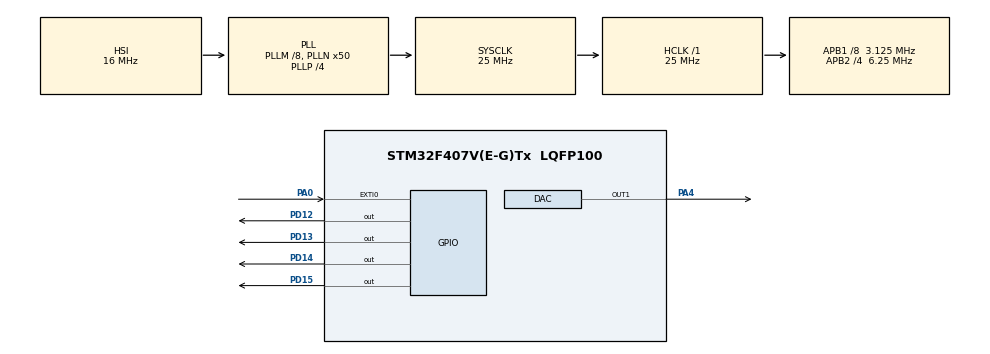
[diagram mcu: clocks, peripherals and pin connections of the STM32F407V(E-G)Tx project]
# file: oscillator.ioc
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DAC.DAC_Trigger=DAC_TRIGGER_T6_TRGO
Dma.DAC1.0.Direction=DMA_MEMORY_TO_PERIPH
Dma.DAC1.0.FIFOMode=DMA_FIFOMODE_DISABLE
Dma.DAC1.0.Instance=DMA1_Stream5
Dma.DAC1.0.MemDataAlignment=DMA_MDATAALIGN_HALFWORD
Dma.DAC1.0.MemInc=DMA_MINC_ENABLE
Dma.DAC1.0.Mode=DMA_CIRCULAR
Dma.DAC1.0.PeriphDataAlignment=DMA_PDATAALIGN_HALFWORD
Dma.DAC1.0.PeriphInc=DMA_PINC_DISABLE
Dma.DAC1.0.Priority=DMA_PRIORITY_LOW
Dma.Request0=DAC1
Mcu.Family=STM32F4
Mcu.Name=STM32F407V(E-G)Tx
Mcu.Package=LQFP100
NVIC.DMA1_Stream5_IRQn=true\:0\:0\:false\:false\:true\:false\:true
NVIC.EXTI0_IRQn=true\:0\:0\:false\:false\:true\:true\:true
NVIC.PriorityGroup=NVIC_PRIORITYGROUP_0
NVIC.TIM6_DAC_IRQn=true\:0\:0\:false\:false\:true\:true\:true
PA0-WKUP.GPIO_ModeDefaultEXTI=GPIO_MODE_IT_RISING
PA0-WKUP.Signal=GPXTI0
PA4.Signal=COMP_DAC1_group
PD12.Signal=GPIO_Output
PD13.Signal=GPIO_Output
PD14.Signal=GPIO_Output
PD15.Signal=GPIO_Output
ProjectManager.HeapSize=0x200
ProjectManager.StackSize=0x400
ProjectManager.TargetToolchain=STM32CubeIDE
RCC.48MHZClocksFreq_Value=14285714.285714285
RCC.AHBFreq_Value=25000000
RCC.APB1CLKDivider=RCC_HCLK_DIV8
RCC.APB1Freq_Value=3125000
RCC.APB1TimFreq_Value=6250000
RCC.APB2CLKDivider=RCC_HCLK_DIV4
RCC.APB2Freq_Value=6250000
RCC.APB2TimFreq_Value=12500000
RCC.CortexFreq_Value=25000000
RCC.HCLKFreq_Value=25000000
RCC.HSE_VALUE=8000000
RCC.HSI_VALUE=16000000
RCC.LSE_VALUE=32768
RCC.PLLM=8
RCC.PLLN=50
RCC.PLLP=RCC_PLLP_DIV4
RCC.PLLQ=7
RCC.SYSCLKFreq_VALUE=25000000
RCC.SYSCLKSource=RCC_SYSCLKSOURCE_PLLCLK
RCC.VCOOutputFreq_Value=100000000
SH.COMP_DAC1_group.0=DAC_OUT1,DAC_OUT1
TIM6.Period=2048
TIM6.TIM_MasterOutputTrigger=TIM_TRGO_UPDATE
VP_TIM6_VS_ClockSourceINT.Mode=Enable_Timer
board=STM32F4DISCOVERY

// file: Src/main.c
/* USER CODE BEGIN Header */
/**
  ******************************************************************************
  * @file           : main.c
  * @brief          : Main program body
  ******************************************************************************
  * @attention
  *
  * <h2><center>&copy; Copyright (c) 2019 STMicroelectronics.
  * All rights reserved.</center></h2>
  *
  * This software component is licensed by ST under BSD 3-Clause license,
  * the "License"; You may not use this file except in compliance with the
  * License. You may obtain a copy of the License at:
  *                        opensource.org/licenses/BSD-3-Clause
  *
  ******************************************************************************
  */
/* USER CODE END Header */

#include "main.h"

DAC_HandleTypeDef hdac;
DMA_HandleTypeDef hdma_dac1;

TIM_HandleTypeDef htim6;

/* USER CODE BEGIN PV */
const uint16_t sine_wave[32] = {
        2047, 1648, 1264, 910, 600,  345,
        156, 39,  0,  39,  156,  345,
        600, 910, 1264, 1648, 2048, 2447,
        2831, 3185, 3495, 3750, 3939, 4056,
        4095, 4056, 3939, 3750, 3495, 3185,
        2831, 2447};

const uint16_t square_wave[32] = {
        0, 0, 0, 0, 0, 0, 0, 0,
        4095, 4095, 4095, 4095, 4095, 4095, 4095, 4095,
        0, 0, 0, 0, 0, 0, 0, 0,
        4095, 4095, 4095, 4095, 4095, 4095, 4095, 4095};

const uint16_t triangle_wave[32] = {
        0, 256, 512, 768, 1024, 1279, 1535, 1791,
        2047, 2303, 2559, 2815, 3071, 3326, 3582, 3838,
        4095, 3838, 3582, 3326, 3071, 2815, 2559, 2303,
        2047, 1791, 1535, 1279, 1024, 768, 512, 256};

const uint16_t saw_wave[32] = {
        0, 132, 264, 396, 528, 660, 792, 924,
        1057, 1189, 1321, 1453, 1585, 1717, 1849, 1981,
        2113, 2245, 2377, 2509, 2641, 2773, 2905, 3037,
        3170, 3302, 3434, 3566, 3698, 3830, 3962, 4095};

int wave_select = 0;
/* USER CODE END PV */

void SystemClock_Config(void);
static void MX_GPIO_Init(void);
static void MX_DMA_Init(void);
static void MX_DAC_Init(void);
static void MX_TIM6_Init(void);

int main(void)
{

  /* MCU Configuration--------------------------------------------------------*/

  /* Reset of all peripherals, Initializes the Flash interface and the Systick. */
  HAL_Init();

  /* Configure the system clock */
  SystemClock_Config();

  /* Initialize all configured peripherals */
  MX_GPIO_Init();
  MX_DMA_Init();
  MX_DAC_Init();
  MX_TIM6_Init();
  /* USER CODE BEGIN 2 */
  HAL_TIM_Base_Start(&htim6);
  HAL_DAC_Start(&hdac, DAC_CHANNEL_1);
  //HAL_DAC_Start_DMA(&hdac, DAC_CHANNEL_1, (uint32_t*)saw_wave, 32, DAC_ALIGN_12B_R);
  /* USER CODE END 2 */

  /* Infinite loop */
  while (1)
  {

  }
}

void SystemClock_Config(void)
{
  RCC_OscInitTypeDef RCC_OscInitStruct = {0};
  RCC_ClkInitTypeDef RCC_ClkInitStruct = {0};

  /** Configure the main internal regulator output voltage
  */
  __HAL_RCC_PWR_CLK_ENABLE();
  __HAL_PWR_VOLTAGESCALING_CONFIG(PWR_REGULATOR_VOLTAGE_SCALE1);
  /** Initializes the CPU, AHB and APB busses clocks
  */
  RCC_OscInitStruct.OscillatorType = RCC_OSCILLATORTYPE_HSI;
  RCC_OscInitStruct.HSIState = RCC_HSI_ON;
  RCC_OscInitStruct.HSICalibrationValue = RCC_HSICALIBRATION_DEFAULT;
  RCC_OscInitStruct.PLL.PLLState = RCC_PLL_ON;
  RCC_OscInitStruct.PLL.PLLSource = RCC_PLLSOURCE_HSI;
  RCC_OscInitStruct.PLL.PLLM = 8;
  RCC_OscInitStruct.PLL.PLLN = 50;
  RCC_OscInitStruct.PLL.PLLP = RCC_PLLP_DIV4;
  RCC_OscInitStruct.PLL.PLLQ = 7;
  if (HAL_RCC_OscConfig(&RCC_OscInitStruct) != HAL_OK)
  {
    Error_Handler();
  }
  /** Initializes the CPU, AHB and APB busses clocks
  */
  RCC_ClkInitStruct.ClockType = RCC_CLOCKTYPE_HCLK|RCC_CLOCKTYPE_SYSCLK
                              |RCC_CLOCKTYPE_PCLK1|RCC_CLOCKTYPE_PCLK2;
  RCC_ClkInitStruct.SYSCLKSource = RCC_SYSCLKSOURCE_PLLCLK;
  RCC_ClkInitStruct.AHBCLKDivider = RCC_SYSCLK_DIV1;
  RCC_ClkInitStruct.APB1CLKDivider = RCC_HCLK_DIV8;
  RCC_ClkInitStruct.APB2CLKDivider = RCC_HCLK_DIV4;

  if (HAL_RCC_ClockConfig(&RCC_ClkInitStruct, FLASH_LATENCY_0) != HAL_OK)
  {
    Error_Handler();
  }
}

static void MX_DAC_Init(void)
{

  DAC_ChannelConfTypeDef sConfig = {0};

  /** DAC Initialization
  */
  hdac.Instance = DAC;
  if (HAL_DAC_Init(&hdac) != HAL_OK)
  {
    Error_Handler();
  }
  /** DAC channel OUT1 config
  */
  sConfig.DAC_Trigger = DAC_TRIGGER_T6_TRGO;
  sConfig.DAC_OutputBuffer = DAC_OUTPUTBUFFER_ENABLE;
  if (HAL_DAC_ConfigChannel(&hdac, &sConfig, DAC_CHANNEL_1) != HAL_OK)
  {
    Error_Handler();
  }

}

static void MX_TIM6_Init(void)
{

  TIM_MasterConfigTypeDef sMasterConfig = {0};

  htim6.Instance = TIM6;
  htim6.Init.Prescaler = 0;
  htim6.Init.CounterMode = TIM_COUNTERMODE_UP;
  htim6.Init.Period = 2048;
  htim6.Init.AutoReloadPreload = TIM_AUTORELOAD_PRELOAD_DISABLE;
  if (HAL_TIM_Base_Init(&htim6) != HAL_OK)
  {
    Error_Handler();
  }
  sMasterConfig.MasterOutputTrigger = TIM_TRGO_UPDATE;
  sMasterConfig.MasterSlaveMode = TIM_MASTERSLAVEMODE_DISABLE;
  if (HAL_TIMEx_MasterConfigSynchronization(&htim6, &sMasterConfig) != HAL_OK)
  {
    Error_Handler();
  }

}

static void MX_DMA_Init(void)
{

  /* DMA controller clock enable */
  __HAL_RCC_DMA1_CLK_ENABLE();

  /* DMA interrupt init */
  /* DMA1_Stream5_IRQn interrupt configuration */
  HAL_NVIC_SetPriority(DMA1_Stream5_IRQn, 0, 0);
  HAL_NVIC_EnableIRQ(DMA1_Stream5_IRQn);

}

static void MX_GPIO_Init(void)
{
  GPIO_InitTypeDef GPIO_InitStruct = {0};

  /* GPIO Ports Clock Enable */
  __HAL_RCC_GPIOA_CLK_ENABLE();
  __HAL_RCC_GPIOD_CLK_ENABLE();

  /*Configure GPIO pin Output Level */
  HAL_GPIO_WritePin(GPIOD, GPIO_PIN_12|GPIO_PIN_13|GPIO_PIN_14|GPIO_PIN_15, GPIO_PIN_RESET);

  /*Configure GPIO pin : PA0 */
  GPIO_InitStruct.Pin = GPIO_PIN_0;
  GPIO_InitStruct.Mode = GPIO_MODE_IT_RISING;
  GPIO_InitStruct.Pull = GPIO_NOPULL;
  HAL_GPIO_Init(GPIOA, &GPIO_InitStruct);

  /*Configure GPIO pins : PD12 PD13 PD14 PD15 */
  GPIO_InitStruct.Pin = GPIO_PIN_12|GPIO_PIN_13|GPIO_PIN_14|GPIO_PIN_15;
  GPIO_InitStruct.Mode = GPIO_MODE_OUTPUT_PP;
  GPIO_InitStruct.Pull = GPIO_NOPULL;
  GPIO_InitStruct.Speed = GPIO_SPEED_FREQ_LOW;
  HAL_GPIO_Init(GPIOD, &GPIO_InitStruct);

  /* EXTI interrupt init*/
  HAL_NVIC_SetPriority(EXTI0_IRQn, 0, 0);
  HAL_NVIC_EnableIRQ(EXTI0_IRQn);

}

/* USER CODE BEGIN 4 */
void HAL_GPIO_EXTI_Callback(uint16_t GPIO_Pin)
{
    wave_select++;
    if (wave_select >= 5) {
        wave_select = 0;
    }
    HAL_DAC_Stop_DMA(&hdac, DAC_CHANNEL_1);
    HAL_GPIO_WritePin(GPIOD, GPIO_PIN_12, 0);
    HAL_GPIO_WritePin(GPIOD, GPIO_PIN_13, 0);
    HAL_GPIO_WritePin(GPIOD, GPIO_PIN_14, 0);
    HAL_GPIO_WritePin(GPIOD, GPIO_PIN_15, 0);
    if (wave_select == 1) {
          HAL_GPIO_TogglePin(GPIOD, GPIO_PIN_12);
          HAL_DAC_Start_DMA(&hdac, DAC_CHANNEL_1, (uint32_t*)sine_wave, 32, DAC_ALIGN_12B_R);
    }
    else if (wave_select == 2) {
        HAL_GPIO_TogglePin(GPIOD, GPIO_PIN_13);
        HAL_DAC_Start_DMA(&hdac, DAC_CHANNEL_1, (uint32_t*)triangle_wave, 32, DAC_ALIGN_12B_R);
    }
    else if (wave_select == 3) {
        HAL_GPIO_TogglePin(GPIOD, GPIO_PIN_14);
        HAL_DAC_Start_DMA(&hdac, DAC_CHANNEL_1, (uint32_t*)saw_wave, 32, DAC_ALIGN_12B_R);
    }
    else if (wave_select == 4) {
        HAL_GPIO_TogglePin(GPIOD, GPIO_PIN_15);
        HAL_DAC_Start_DMA(&hdac, DAC_CHANNEL_1, (uint32_t*)square_wave, 32, DAC_ALIGN_12B_R);
    }
}
/* USER CODE END 4 */

void Error_Handler(void)
{
}

/************************ (C) COPYRIGHT STMicroelectronics *****END OF FILE****/
